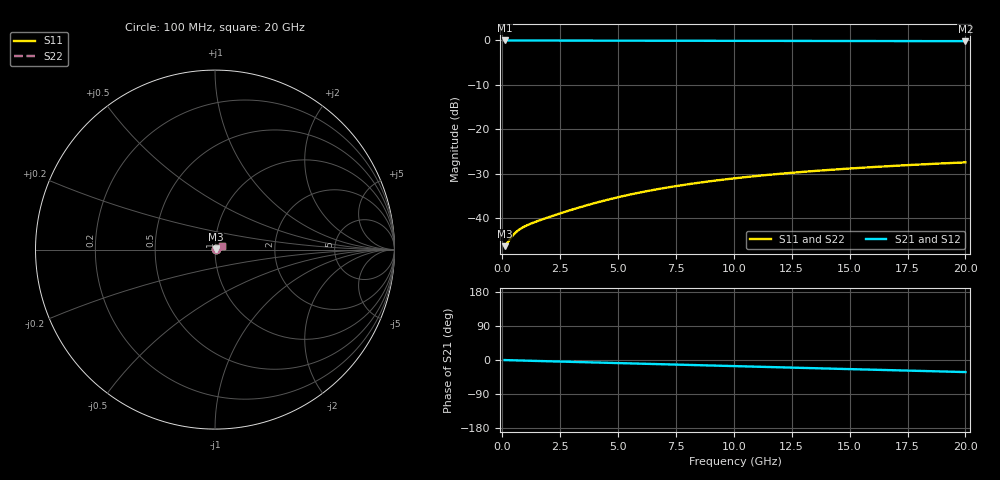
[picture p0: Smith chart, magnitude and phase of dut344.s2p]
! Touchstone file exported from HFSS 2026.1.0
!  File:  C:/ffzhzh/LocalFiles/Ansys_Project_Files/temp_train_BSMRDL_344_1783011246_53980.aedt
!  Generated:  12:55:23 AM Jul  3, 2026
!  Design:  BSMRDL
!  Project:  temp_train_BSMRDL_344_1783011246_53980
! Variables:
!  h_bsmrdl = 3.22um
!  h_ox = 20um
!  h_rdl = 5um
!  h_sub = 80um
!  h_tmrdl = 5um
!  h_tsv = 80um
!  h_via = 3um
!  l_bsmrdl = 574um
!  l_sub = 974um
!  l_tmrdl = 200um
!  m_sub = 200um
!  pitch = 17.29um
!  r_tsv = 6um
!  s_tmrdl = 10um
!  w_bsmrdl = 13.67um
!  w_sub = 500um
!  w_tmrdl = 12um
!  x_tsv_center1 = 206um
!  x_tsv_center2 = 793.67um
!  x_tsv_center3 = 1005.67um
!  x_tsv_center4 = 1593.34um
!  x_tsv_center5 = 1805.34um
!  x_tsv_center6 = 2393.01um
# GHz S MA R 50.000000
! Terminal data exported
! Port[1] = BSM_RDL1_1_T1
! Port[2] = BSM_RDL1_1_T2
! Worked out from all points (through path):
!   200 points, 100 MHz to 20 GHz, reference 50 ohm
!   highest |S21| = -0.04 dB at 100 MHz (marker M1); lowest = -0.2 dB at 20 GHz (marker M2)
!   group delay of S21, straight-line fit = 4.4 ps
!   lowest |S11| = -46.3 dB at 100 MHz (marker M3), VSWR 1.01, Z = 50.5 + j0.0753 ohm
!   |S11| at or under -10 dB: start of sweep to end of sweep
!   |S22| runs from -46.3 to -27.4 dB; largest |S21 - S12| = 5.6e-15
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0.1  0.004823 8.9  0.9952 -0.2  0.9952 -0.2  0.004823 8.9
! Gamma 0 0 0 0
! Port Impedance 50 0 50 0
0.2  0.00518 16.0  0.995 -0.4  0.995 -0.4  0.005179 16.0
0.4  0.006122 23.6  0.9944 -0.7  0.9944 -0.7  0.006121 23.7
0.5  0.006566 25.5  0.9941 -0.9  0.9941 -0.9  0.006567 25.5
0.6  0.006959 26.7  0.9938 -1.1  0.9938 -1.1  0.006963 26.8
0.8  0.007606 28.3  0.9934 -1.4  0.9934 -1.4  0.007615 28.4
1  0.008125 29.7  0.9931 -1.7  0.9931 -1.7  0.008138 29.8
1.4  0.008991 32.6  0.9926 -2.4  0.9926 -2.4  0.009008 32.7
1.9  0.01001 36.3  0.9923 -3.2  0.9923 -3.2  0.01002 36.3
2.7  0.01172 41.0  0.9918 -4.5  0.9918 -4.5  0.01174 41.0
3.5  0.01356 44.1  0.9912 -5.8  0.9912 -5.8  0.01358 44.1
4.3  0.01547 45.9  0.9906 -7.1  0.9906 -7.1  0.01548 45.8
5.1  0.01738 46.7  0.9899 -8.4  0.9899 -8.4  0.01739 46.6
5.9  0.01927 46.8  0.9892 -9.7  0.9892 -9.7  0.01928 46.7
6.8  0.02133 46.4  0.9883 -11.1  0.9883 -11.1  0.02135 46.3
8.4  0.02478 44.9  0.9867 -13.7  0.9867 -13.7  0.02481 44.8
10.1  0.02812 42.7  0.985 -16.4  0.985 -16.4  0.02816 42.5
11.7  0.03097 40.3  0.9835 -18.9  0.9835 -18.9  0.03102 40.1
13.4  0.03372 37.8  0.9819 -21.5  0.9819 -21.5  0.03379 37.6
15  0.03607 35.4  0.9806 -24.1  0.9806 -24.1  0.03616 35.1
16.7  0.03837 32.9  0.9792 -26.7  0.9792 -26.7  0.03848 32.6
20  0.04229 28.1  0.9769 -31.8  0.9769 -31.8  0.04245 27.7
